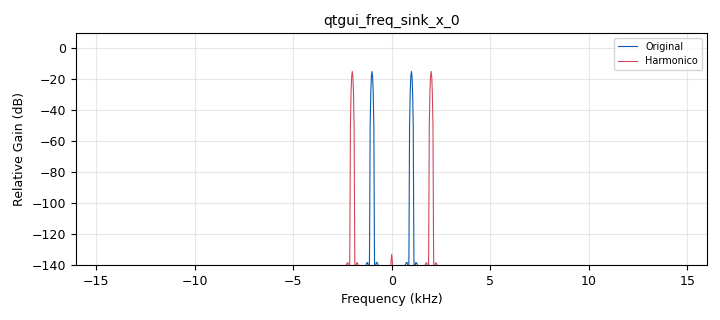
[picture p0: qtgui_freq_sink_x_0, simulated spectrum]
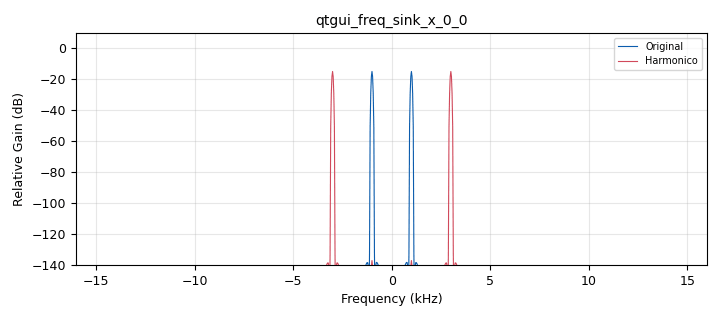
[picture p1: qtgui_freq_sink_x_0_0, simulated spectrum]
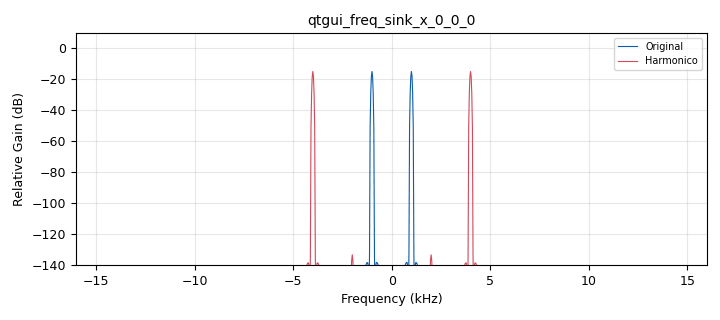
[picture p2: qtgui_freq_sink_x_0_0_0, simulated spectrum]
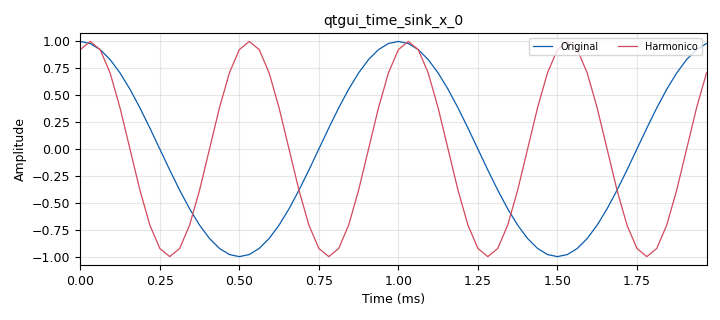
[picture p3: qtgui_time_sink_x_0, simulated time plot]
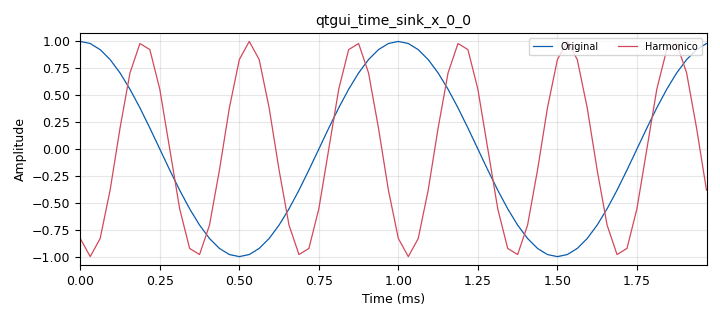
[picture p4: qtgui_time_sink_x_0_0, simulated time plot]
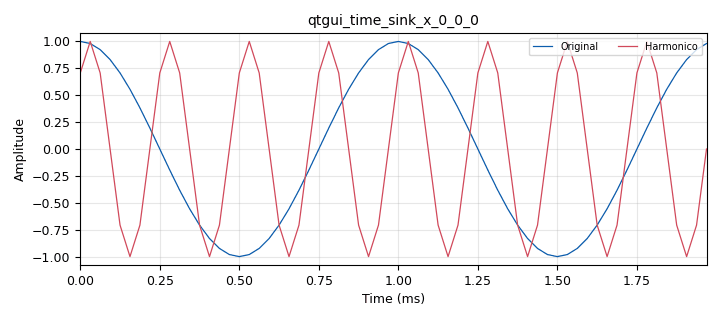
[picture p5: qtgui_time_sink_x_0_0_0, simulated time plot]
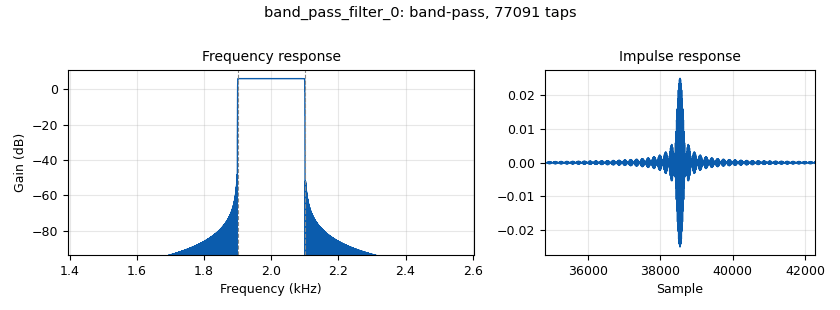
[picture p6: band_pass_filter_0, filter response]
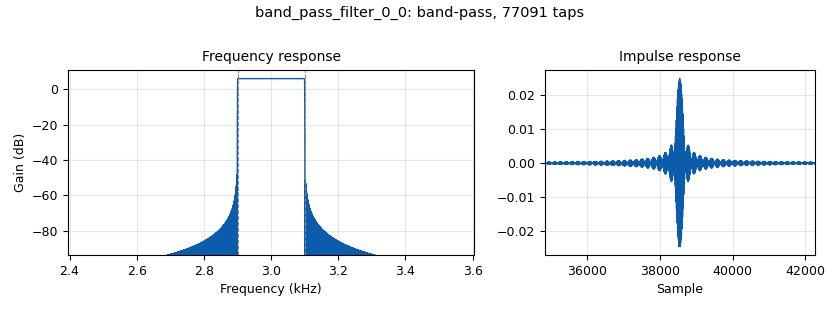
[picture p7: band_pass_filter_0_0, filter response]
options:
  parameters:
    author: luso
    generate_options: qt_gui
    id: harmonic_generator
    output_language: python
    title: Not titled yet
  states: {}

blocks:
- name: amp
  id: variable_qtgui_range
  parameters:
    gui_hint: 0,1
    label: Amplitude
    min_len: '10'
    start: '0.1'
    step: '.1'
    stop: '1'
    value: '1'
    widget: dial
  states: {}
- name: df
  id: variable
  parameters:
    value: freq/10
  states: {}
- name: freq
  id: variable_qtgui_range
  parameters:
    gui_hint: 0,0
    label: Frequência
    start: '0'
    step: '1'
    stop: '10000'
    value: '1000'
    widget: dial
  states: {}
- name: samp_rate
  id: variable
  parameters:
    value: '32000'
  states: {}
- name: analog_sig_source_x_0
  id: analog_sig_source_x
  parameters:
    amp: amp
    freq: freq
    offset: '0'
    phase: '0'
    samp_rate: samp_rate
    type: float
    waveform: analog.GR_COS_WAVE
  states: {}
- name: analog_sig_source_x_0_0
  id: analog_sig_source_x
  parameters:
    amp: amp
    freq: freq
    offset: '0'
    phase: '0'
    samp_rate: samp_rate
    type: float
    waveform: analog.GR_COS_WAVE
  states: {}
- name: analog_sig_source_x_0_0_0
  id: analog_sig_source_x
  parameters:
    amp: amp
    freq: 2*freq
    offset: '0'
    phase: '0'
    samp_rate: samp_rate
    type: float
    waveform: analog.GR_COS_WAVE
  states: {}
- name: analog_sig_source_x_0_0_0_0
  id: analog_sig_source_x
  parameters:
    amp: amp
    freq: 3*freq
    offset: '0'
    phase: '0'
    samp_rate: samp_rate
    type: float
    waveform: analog.GR_COS_WAVE
  states: {}
- name: band_pass_filter_0
  id: band_pass_filter
  parameters:
    decim: '1'
    gain: '2'
    high_cutoff_freq: 2*freq + df
    low_cutoff_freq: 2*freq - df
    samp_rate: samp_rate
    type: fir_filter_fff
    width: '1'
    win: window.WIN_HAMMING
  states: {}
- name: band_pass_filter_0_0
  id: band_pass_filter
  parameters:
    decim: '1'
    gain: '2'
    high_cutoff_freq: 3*freq + df
    low_cutoff_freq: 3*freq - df
    samp_rate: samp_rate
    type: fir_filter_fff
    width: '1'
    win: window.WIN_HAMMING
  states: {}
- name: band_pass_filter_0_0_0
  id: band_pass_filter
  parameters:
    decim: '1'
    gain: '2'
    high_cutoff_freq: 4*freq + df
    low_cutoff_freq: 4*freq - df
    samp_rate: samp_rate
    type: fir_filter_fff
    width: '1'
    win: window.WIN_HAMMING
  states: {}
- name: blocks_multiply_xx_0
  id: blocks_multiply_xx
  parameters:
    type: float
  states: {}
- name: blocks_multiply_xx_0_0
  id: blocks_multiply_xx
  parameters:
    type: float
  states: {}
- name: blocks_multiply_xx_0_0_0
  id: blocks_multiply_xx
  parameters:
    type: float
  states: {}
- name: blocks_throttle_0
  id: blocks_throttle
  parameters:
    samples_per_second: samp_rate
    type: float
  states: {}
- name: blocks_throttle_0_0
  id: blocks_throttle
  parameters:
    samples_per_second: samp_rate
    type: float
  states: {}
- name: blocks_throttle_0_0_0
  id: blocks_throttle
  parameters:
    samples_per_second: samp_rate
    type: float
  states: {}
- name: qtgui_freq_sink_x_0
  id: qtgui_freq_sink_x
  parameters:
    bw: samp_rate
    fc: '0'
    fftsize: '1024'
    gui_hint: 'tab@0: 0,1'
    label1: Original
    label2: Harmonico
    nconnections: '2'
    type: float
  states: {}
- name: qtgui_freq_sink_x_0_0
  id: qtgui_freq_sink_x
  parameters:
    bw: samp_rate
    fc: '0'
    fftsize: '1024'
    gui_hint: 'tab@1: 0,1'
    label1: Original
    label2: Harmonico
    nconnections: '2'
    type: float
  states: {}
- name: qtgui_freq_sink_x_0_0_0
  id: qtgui_freq_sink_x
  parameters:
    bw: samp_rate
    fc: '0'
    fftsize: '1024'
    gui_hint: 'tab@2: 0,1'
    label1: Original
    label2: Harmonico
    nconnections: '2'
    type: float
  states: {}
- name: qtgui_time_sink_x_0
  id: qtgui_time_sink_x
  parameters:
    gui_hint: 'tab@0: 0,0'
    label1: Original
    label2: Harmonico
    nconnections: '2'
    size: round(samp_rate/freq*2)
    srate: samp_rate
    type: float
  states: {}
- name: qtgui_time_sink_x_0_0
  id: qtgui_time_sink_x
  parameters:
    gui_hint: 'tab@1: 0,0'
    label1: Original
    label2: Harmonico
    nconnections: '2'
    size: round(samp_rate/freq*2)
    srate: samp_rate
    type: float
  states: {}
- name: qtgui_time_sink_x_0_0_0
  id: qtgui_time_sink_x
  parameters:
    gui_hint: 'tab@2: 0,0'
    label1: Original
    label2: Harmonico
    nconnections: '2'
    size: round(samp_rate/freq*2)
    srate: samp_rate
    type: float
  states: {}
- name: tab
  id: qtgui_tab_widget
  parameters:
    label0: 2 Harmonico
    label1: 3 Harmonico
    label2: 4 Harmonico
    num_tabs: '3'
  states: {}
- name: virtual_sink_0
  id: virtual_sink
  parameters:
    stream_id: original
  states: {}
- name: virtual_sink_1
  id: virtual_sink
  parameters:
    stream_id: h2
  states: {}
- name: virtual_sink_1_0
  id: virtual_sink
  parameters:
    stream_id: h3
  states: {}
- name: virtual_sink_1_1
  id: virtual_sink
  parameters:
    stream_id: h4
  states: {}
- name: virtual_source_0
  id: virtual_source
  parameters:
    stream_id: original
  states: {}
- name: virtual_source_0_0
  id: virtual_source
  parameters:
    stream_id: original
  states: {}
- name: virtual_source_0_0_0
  id: virtual_source
  parameters:
    stream_id: original
  states: {}
- name: virtual_source_0_0_0_0
  id: virtual_source
  parameters:
    stream_id: original
  states: {}
- name: virtual_source_0_0_0_0_0
  id: virtual_source
  parameters:
    stream_id: original
  states: {}
- name: virtual_source_0_0_0_0_1
  id: virtual_source
  parameters:
    stream_id: original
  states: {}
- name: virtual_source_0_0_0_0_1_0
  id: virtual_source
  parameters:
    stream_id: original
  states: {}
- name: virtual_source_0_0_0_1
  id: virtual_source
  parameters:
    stream_id: original
  states: {}

connections:
- [analog_sig_source_x_0, '0', blocks_multiply_xx_0, '0']
- [analog_sig_source_x_0, '0', virtual_sink_0, '0']
- [analog_sig_source_x_0_0, '0', blocks_multiply_xx_0, '1']
- [analog_sig_source_x_0_0_0, '0', blocks_multiply_xx_0_0, '1']
- [analog_sig_source_x_0_0_0_0, '0', blocks_multiply_xx_0_0_0, '1']
- [band_pass_filter_0, '0', qtgui_freq_sink_x_0, '1']
- [band_pass_filter_0, '0', qtgui_time_sink_x_0, '1']
- [band_pass_filter_0, '0', virtual_sink_1, '0']
- [band_pass_filter_0_0, '0', qtgui_freq_sink_x_0_0, '1']
- [band_pass_filter_0_0, '0', qtgui_time_sink_x_0_0, '1']
- [band_pass_filter_0_0, '0', virtual_sink_1_0, '0']
- [band_pass_filter_0_0_0, '0', qtgui_freq_sink_x_0_0_0, '1']
- [band_pass_filter_0_0_0, '0', qtgui_time_sink_x_0_0_0, '1']
- [band_pass_filter_0_0_0, '0', virtual_sink_1_1, '0']
- [blocks_multiply_xx_0, '0', blocks_throttle_0, '0']
- [blocks_multiply_xx_0_0, '0', blocks_throttle_0_0, '0']
- [blocks_multiply_xx_0_0_0, '0', blocks_throttle_0_0_0, '0']
- [blocks_throttle_0, '0', band_pass_filter_0, '0']
- [blocks_throttle_0_0, '0', band_pass_filter_0_0, '0']
- [blocks_throttle_0_0_0, '0', band_pass_filter_0_0_0, '0']
- [virtual_source_0, '0', qtgui_time_sink_x_0, '0']
- [virtual_source_0_0, '0', qtgui_freq_sink_x_0, '0']
- [virtual_source_0_0_0, '0', qtgui_freq_sink_x_0_0, '0']
- [virtual_source_0_0_0_0, '0', qtgui_time_sink_x_0_0, '0']
- [virtual_source_0_0_0_0_0, '0', qtgui_time_sink_x_0_0_0, '0']
- [virtual_source_0_0_0_0_1, '0', blocks_multiply_xx_0_0, '0']
- [virtual_source_0_0_0_0_1_0, '0', blocks_multiply_xx_0_0_0, '0']
- [virtual_source_0_0_0_1, '0', qtgui_freq_sink_x_0_0_0, '0']

metadata:
  file_format: 1
  grc_version: 3.10.10.0
